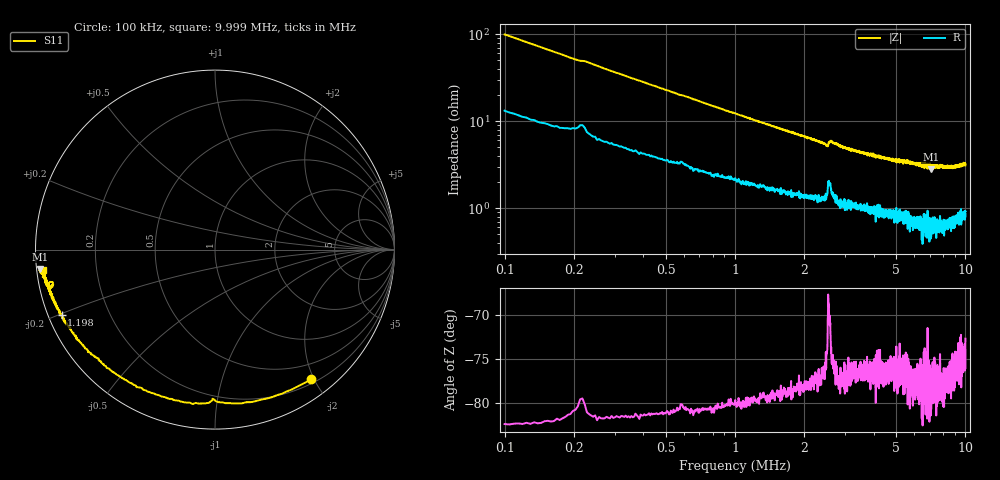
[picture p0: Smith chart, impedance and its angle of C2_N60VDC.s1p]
# HZ S RI R 50
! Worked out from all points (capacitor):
!   2020 points, 100 kHz to 9.999 MHz, reference 50 ohm
!   read as one part to ground: C = 15 nF near 149 kHz
!   lowest |Z| = 2.79 ohm at 7.067 MHz (marker M1)
!   S11 on the Smith chart (normalised r, x): 100 kHz: 0.26, -1.97; 1.198 MHz: 0.04, -0.20; 9.999 MHz: 0.02, -0.06
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100000  0.5372 -0.7199
129418  0.3727 -0.803
158836  0.2217 -0.8457
188254  0.082 -0.8555
232381  -0.0525 -0.8562
286314  -0.2298 -0.8385
320635  -0.3098 -0.8122
364762  -0.4008 -0.7793
453016  -0.5309 -0.7063
565785  -0.6433 -0.6209
668748  -0.7065 -0.564
761905  -0.7516 -0.5147
938413  -0.8051 -0.4371
1198272  -0.8552 -0.3658
1340459  -0.8707 -0.336
1850371  -0.9101 -0.2568
2316156  -0.9282 -0.2151
2507373  -0.9261 -0.1882
2576015  -0.9054 -0.1959
2644657  -0.9208 -0.206
2860389  -0.9414 -0.194
3816474  -0.9525 -0.154
5052030  -0.9564 -0.1291
6287586  -0.9628 -0.1185
7067163  -0.9743 -0.1073
7528045  -0.9716 -0.1213
8763601  -0.9642 -0.1148
9999157  -0.9571 -0.1139
